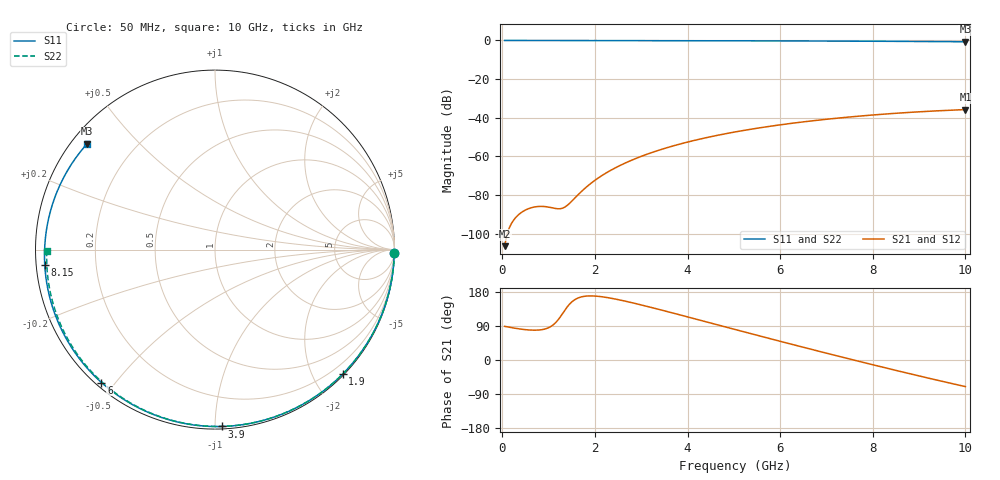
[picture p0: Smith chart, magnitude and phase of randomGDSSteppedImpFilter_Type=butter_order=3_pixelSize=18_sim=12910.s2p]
! freq	dB(S11)	phase(S11)	dB(S12)	phase(S12)
!  dB(S21)	phase(S21)	dB(S22)	phase(S22)
!S-par simulation data
#  GHz  S  DB  R 50
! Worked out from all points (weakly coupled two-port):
!   200 points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, 50 MHz to 10 GHz, reference 50 ohm
!   highest |S21| = -35.75 dB at 10 GHz (marker M1); lowest = -106.4 dB at 50 MHz (marker M2)
!   lowest |S11| = -0.7 dB at 10 GHz (marker M3), VSWR 25.71, Z = 2.2 + j18 ohm
!   |S11| at or under -10 dB: nowhere
!   |S22| runs from -0.6 to 0.0 dB; largest |S21 - S12| = 0
!   S11 on the Smith chart (normalised r, x): 50 MHz: open; 1.9 GHz: 0.02, -2.46; 3.9 GHz: 0.01, -1.04; 6 GHz: 0.02, -0.46; 8.15 GHz: 0.02, -0.04; 10 GHz: 0.04, +0.36
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0.05  -0.01 -1.1  -106.36 88.8  -106.36 88.8  -0.00 -1.0
0.8  -0.02 -18.9  -85.81 79.2  -85.81 79.2  -0.02 -16.9
1.6  -0.05 -37.5  -80.66 161.6  -80.66 161.6  -0.04 -33.4
1.65  -0.05 -38.6  -79.46 164.3  -79.46 164.3  -0.04 -34.4
1.75  -0.05 -40.9  -77.19 167.6  -77.19 167.6  -0.05 -36.5
1.9  -0.06 -44.3  -74.13 169.2  -74.13 169.2  -0.05 -39.5
2.2  -0.07 -51.1  -69.13 166.0  -69.13 166.0  -0.06 -45.5
2.55  -0.08 -58.8  -64.55 158.1  -64.55 158.1  -0.07 -52.4
2.95  -0.09 -67.6  -60.39 146.8  -60.39 146.8  -0.08 -60.2
3.4  -0.10 -77.3  -56.60 133.0  -56.60 133.0  -0.09 -68.7
3.9  -0.12 -87.8  -53.15 117.0  -53.15 117.0  -0.11 -78.0
4.45  -0.14 -99.2  -50.03 99.2  -50.03 99.2  -0.13 -87.9
5.05  -0.17 -111.4  -47.20 79.8  -47.20 79.8  -0.15 -98.4
6  -0.23 -130.5  -43.63 49.3  -43.63 49.3  -0.20 -114.4
6.7  -0.28 -144.6  -41.54 27.3  -41.54 27.3  -0.24 -125.8
7.45  -0.35 -160.0  -39.68 4.1  -39.68 4.1  -0.30 -137.9
8.15  -0.42 -175.0  -38.26 -17.0  -38.26 -17.0  -0.36 -149.1
8.35  -0.45 -179.4  -37.90 -23.0  -37.90 -23.0  -0.38 -152.3
8.8  -0.50 170.3  -37.18 -36.3  -37.18 -36.3  -0.42 -159.5
9.2  -0.56 160.8  -36.63 -47.8  -36.63 -47.8  -0.47 -166.0
9.6  -0.62 150.9  -36.15 -59.1  -36.15 -59.1  -0.51 -172.6
10  -0.68 140.4  -35.75 -70.2  -35.75 -70.2  -0.56 -179.4
